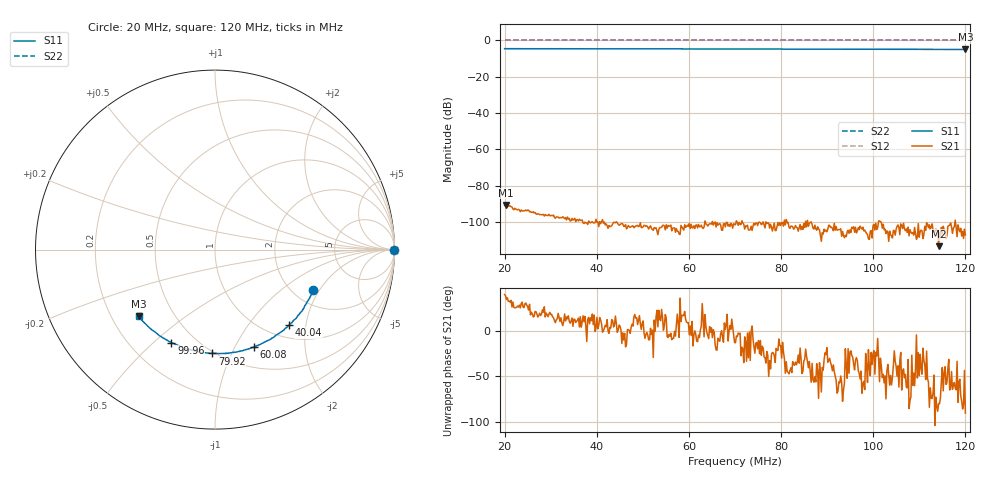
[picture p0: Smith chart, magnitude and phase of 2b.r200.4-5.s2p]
! Anritsu VNA Master:  Model: MS2036C/10/77
! SN:  1601066
! /card0/usr/18may27.balun/252b.r200.3.s2p
! Existing Calibration Information:
! TYPE:  Current Settings,  Active Cal Settings
! TIME:  05/27/2018 01:05:04 PM,  05/27/2018 12:49:51 PM
! INTERNAL TEMP:  52.3 C,  52.5 C
! # POINTS:  500,  500
! START FREQ:  20.000 MHz,  20.000 MHz
! STOP FREQ:  120.000 MHz,  120.000 MHz
! SOURCE POWER:  High,  High
! IFBW:  50 Hz,  50 Hz
! AVG FACTOR:  1 ,  1
! REF PLANE 1:  0 mm,  0 mm
! REF PLANE 2:  0 mm,  0 mm
! CAL TYPE:  Full S11,  Full S11
! CAL METHOD:  SOLT,  SOLT
! CAL LINE TYPE:  Coax,  Coax
! DUT PORT 1:  K-Conn(M),  K-Conn(M)
! DUT PORT 2:  K-Conn(M),  K-Conn(M)
! CAL STATUS:  OK: Accuracy High,  --
# GHZ S DB R 50.0
! FREQ.GHZ  S11DB  S11A  S21DB  S21A  S12DB  S12A  S22DB  S22A
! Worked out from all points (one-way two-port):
!   500 points, 20 MHz to 120 MHz, reference 50 ohm
!   highest |S21| = -90.59 dB at 20.2 MHz (marker M1); lowest = -113.4 dB at 114.2 MHz (marker M2)
!   lowest |S11| = -5.0 dB at 120 MHz (marker M3), VSWR 3.60, Z = 15.7 - j17.1 ohm
!   |S11| at or under -10 dB: nowhere
!   |S22| runs from 0.0 to 0.0 dB; largest |S21 - S12| = 1
!   S11 on the Smith chart (normalised r, x): 20 MHz: 2.53, -1.78; 40.04 MHz: 1.26, -1.61; 60.08 MHz: 0.72, -1.19; 79.92 MHz: 0.49, -0.85; 99.96 MHz: 0.37, -0.57; 120 MHz: 0.31, -0.34
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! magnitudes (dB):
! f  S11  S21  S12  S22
! 20 MHz  -4.5  -90.9  0.0  0.0
! 20.2 MHz  -4.5  -90.6  0.0  0.0
! 28.22 MHz  -4.6  -96.0  0.0  0.0
! 31.02 MHz  -4.5  -98.0  0.0  0.0
! 34.23 MHz  -4.6  -99.5  0.0  0.0
! 35.63 MHz  -4.6  -98.8  0.0  0.0
! 36.83 MHz  -4.6  -98.9  0.0  0.0
! 40.04 MHz  -4.6  -100.3  0.0  0.0
! 43.85 MHz  -4.6  -100.3  0.0  0.0
! 47.66 MHz  -4.6  -102.3  0.0  0.0
! 51.46 MHz  -4.6  -102.8  0.0  0.0
! 53.47 MHz  -4.7  -104.2  0.0  0.0
! 60.08 MHz  -4.7  -100.9  0.0  0.0
! 70.1 MHz  -4.7  -101.6  0.0  0.0
! 79.92 MHz  -4.8  -102.0  0.0  0.0
! 86.73 MHz  -4.8  -101.4  0.0  0.0
! 95.15 MHz  -4.8  -105.8  0.0  0.0
! 97.56 MHz  -4.9  -104.0  0.0  0.0
! 99.96 MHz  -4.8  -102.0  0.0  0.0
! 103.4 MHz  -4.9  -110.7  0.0  0.0
! 114.2 MHz  -4.9  -113.4  0.0  0.0
! 120 MHz  -5.0  -107.2  0.0  0.0
